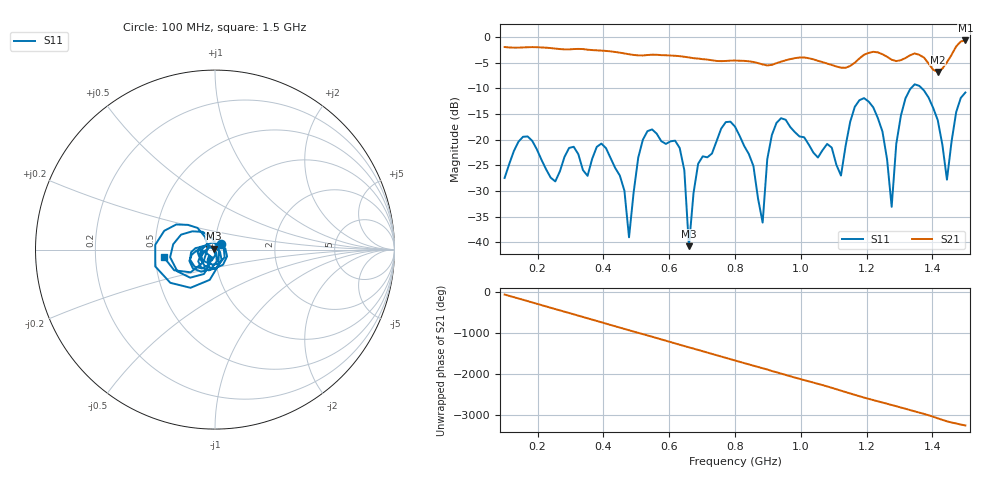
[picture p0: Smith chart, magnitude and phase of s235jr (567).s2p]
! NanoVNA-App
! Date: 2025-09-25 15:08:35
! Start: 100MHz Stop: 1,5GHz Points: 101
! S-Parameter data: F S11 S21 S12 S22
# Hz S RI R 50
!  Frequency  S11_Real  S11_Imag  S21_Real  S21_Imag  S12_Real  S12_Imag  S22_Real  S22_Imag
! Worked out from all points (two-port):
!   101 points, 100 MHz to 1.5 GHz, reference 50 ohm
!   highest |S21| = -0.68 dB at 1.5 GHz (marker M1); lowest = -6.8 dB at 1.416 GHz (marker M2)
!   |S21| within 3 dB of the highest: start of sweep to 621 MHz; 1.188 GHz to 1.257 GHz (69.08 MHz wide, 5.65 % of centre) (the widest 2 of 4)
!   lowest |S11| = -40.8 dB at 660 MHz (marker M3), VSWR 1.02, Z = 49.3 + j0.541 ohm
!   |S11| at or under -10 dB: start of sweep to 1.334 GHz; 1.367 GHz to end of sweep
!   S12 and S22 are empty: the file has one direction only
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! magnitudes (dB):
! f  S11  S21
! 100 MHz  -27.5  -2.0
! 156 MHz  -19.4  -2.0
! 338 MHz  -25.9  -2.4
! 408 MHz  -21.7  -2.7
! 478 MHz  -39.0  -3.4
! 520 MHz  -20.0  -3.6
! 576 MHz  -20.3  -3.5
! 632 MHz  -21.6  -3.7
! 660 MHz  -40.8  -4.0
! 688 MHz  -24.7  -4.2
! 800 MHz  -17.5  -4.6
! 884 MHz  -36.2  -5.4
! 926 MHz  -16.7  -5.1
! 1.038 GHz  -22.5  -4.4
! 1.122 GHz  -27.0  -6.0
! 1.192 GHz  -11.9  -3.5
! 1.248 GHz  -18.4  -3.4
! 1.276 GHz  -33.1  -4.4
! 1.332 GHz  -10.2  -3.6
! 1.416 GHz  -16.2  -6.8
! 1.444 GHz  -27.8  -4.9
! 1.5 GHz  -10.8  -0.7
